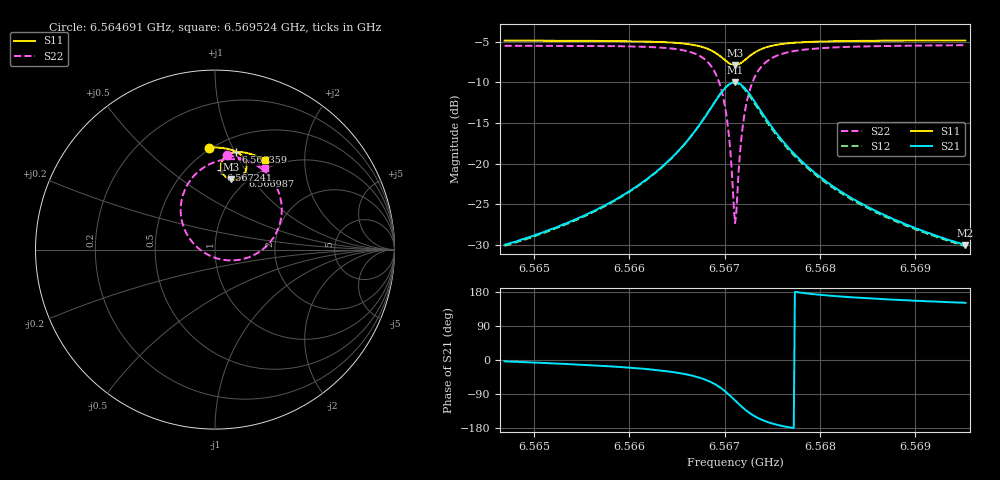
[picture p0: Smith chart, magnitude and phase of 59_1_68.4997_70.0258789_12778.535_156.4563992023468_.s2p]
#  HZ  S  RI  R  50.00
! Rohde & Schwarz Vector Network Analyzer
! Rohde-Schwarz,ZNB20-2Port,1311601062101988,3.16
! Created: UTC 3/20/2024, 4:51:09 PM
! freq[Hz]  re:S11  im:S11  re:S21  im:S21  re:S12  im:S12  re:S22  im:S22
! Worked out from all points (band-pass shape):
!   401 points, 6.564691 GHz to 6.569524 GHz, reference 50 ohm
!   highest |S21| = -10.01 dB at 6.567108 GHz (marker M1); lowest = -30.0 dB at 6.569524 GHz (marker M2)
!   |S21| within 3 dB of the highest: 6.566865 GHz to 6.567349 GHz (483.7 kHz wide, 0.00737 % of centre)
!   lowest |S11| = -7.9 dB at 6.567108 GHz (marker M3), VSWR 2.34, Z = 42.5 + j39.7 ohm
!   |S11| at or under -10 dB: nowhere
!   |S22| runs from -27.3 to -5.4 dB; largest |S21 - S12| = 0.016
!   S11 on the Smith chart (normalised r, x): 6.564691 GHz: 0.48, +0.81; 6.566359 GHz: 0.64, +1.01; 6.566987 GHz: 0.91, +0.93; 6.567241 GHz: 0.71, +0.79; 6.569524 GHz: 0.87, +1.29
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6.564691e9  -0.0358 0.5683  0.0315 -0.00188  0.031 -0.0025  0.0679 0.525
6.5655006e9  0.0324 0.5671  0.046 -0.0103  0.0453 -0.0109  0.1501 0.5072
6.5659719e9  0.0763 0.5598  0.0621 -0.0222  0.0611 -0.023  0.2116 0.4811
6.5663102e9  0.1127 0.5477  0.0818 -0.042  0.0806 -0.0431  0.2709 0.4405
6.5663585e9  0.1183 0.5449  0.0854 -0.0467  0.0842 -0.0477  0.281 0.4314
6.5666123e9  0.1507 0.5213  0.1085 -0.0868  0.1068 -0.0888  0.3405 0.3522
6.5667935e9  0.1722 0.4847  0.1198 -0.1516  0.1167 -0.155  0.372 0.2269
6.5669023e9  0.1735 0.4469  0.1034 -0.218  0.0973 -0.2225  0.3447 0.1004
6.5669868e9  0.1548 0.4119  0.0535 -0.2777  0.0427 -0.2813  0.2509 -0.0102
6.5670352e9  0.1322 0.3962  0.00365 -0.3027  -0.0101 -0.3031  0.1572 -0.0523
6.5670956e9  0.095 0.3906  -0.074 -0.3067  -0.0887 -0.3008  0.0165 -0.0506
6.5671077e9  0.0872 0.3919  -0.0899 -0.3029  -0.1041 -0.2956  -0.0113 -0.0415
6.5671198e9  0.0798 0.3941  -0.105 -0.2975  -0.1189 -0.2889  -0.0378 -0.0296
6.5671318e9  0.0725 0.3971  -0.1197 -0.2906  -0.1328 -0.2807  -0.0626 -0.0153
6.5671681e9  0.0539 0.4104  -0.1575 -0.2626  -0.1678 -0.2501  -0.125 0.0397
6.5671923e9  0.0445 0.4215  -0.1766 -0.24  -0.1847 -0.2265  -0.1549 0.0826
6.5672406e9  0.034 0.4461  -0.1996 -0.1912  -0.2031 -0.1778  -0.1869 0.1712
6.5673373e9  0.0374 0.4887  -0.2016 -0.1088  -0.1996 -0.0982  -0.1749 0.3151
6.5674823e9  0.0642 0.524  -0.1665 -0.0404  -0.1628 -0.0347  -0.099 0.4294
6.5679173e9  0.1349 0.5438  -0.09 0.00933  -0.0877 0.0108  0.0667 0.503
6.5687268e9  0.2154 0.527  -0.0439 0.0163  -0.0429 0.0164  0.2 0.4889
6.5695243e9  0.2768 0.4995  -0.0274 0.0154  -0.027 0.0154  0.2762 0.4572
